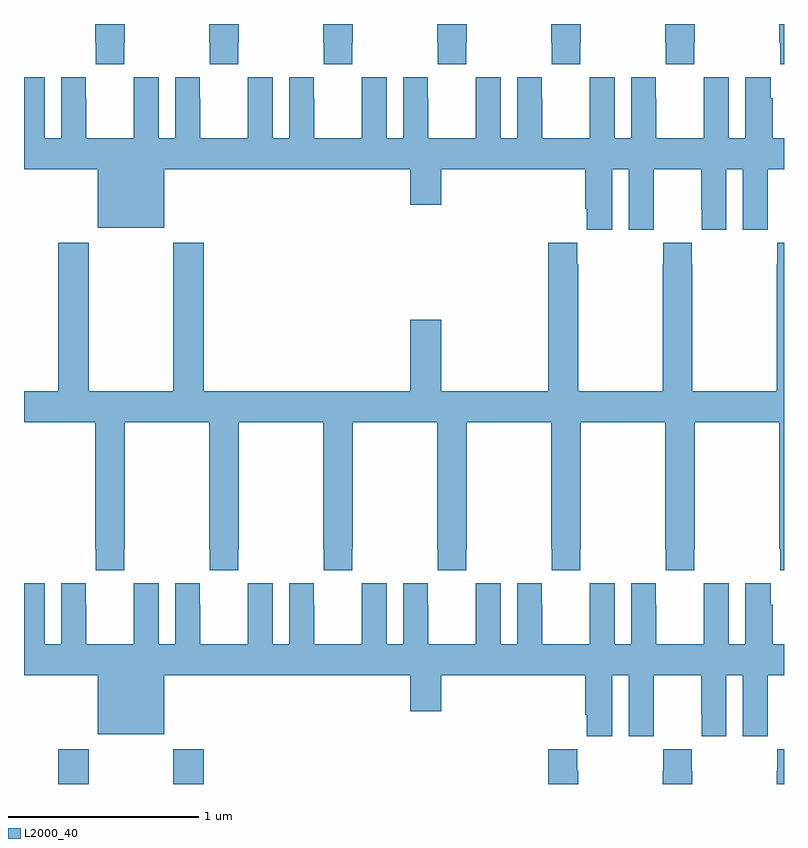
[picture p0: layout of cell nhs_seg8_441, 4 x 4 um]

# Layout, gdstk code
import gdstk
lib = gdstk.Library(unit=1e-6, precision=1e-09)
def R(c, l, rs):  # rectangles x0, y0, x1, y1
    for r in rs: c.add(gdstk.rectangle(r[:2], r[2:], *l))
def P(c, l, *ps):  # polygons
    for p in ps: c.add(gdstk.Polygon(p, *l))
L2000_40 = (2000, 40)

nhs_seg8_441 = lib.new_cell('nhs_seg8_441')
R(nhs_seg8_441, L2000_40, [(139.181,1143.9,139.341,1144.084), (139.786,1143.9,139.946,1144.084)])
P(nhs_seg8_441, L2000_40, [(139.527,1147.801),(139.53,1147.801),(139.53,1147.9),(139.375,1147.9),(139.375,1147.801),(139.377,1147.801),(139.377,1147.689),(139.527,1147.689)],
  [(140.127,1147.801),(140.13,1147.801),(140.13,1147.9),(139.975,1147.9),(139.975,1147.801),(139.977,1147.801),(139.977,1147.689),(140.127,1147.689)],
  [(140.727,1147.801),(140.73,1147.801),(140.73,1147.9),(140.575,1147.9),(140.575,1147.801),(140.577,1147.801),(140.577,1147.689),(140.727,1147.689)],
  [(141.327,1147.801),(141.33,1147.801),(141.33,1147.9),(141.175,1147.9),(141.175,1147.801),(141.177,1147.801),(141.177,1147.689),(141.327,1147.689)],
  [(141.927,1147.801),(141.93,1147.801),(141.93,1147.9),(141.775,1147.9),(141.775,1147.801),(141.777,1147.801),(141.777,1147.689),(141.927,1147.689)],
  [(142.527,1147.801),(142.53,1147.801),(142.53,1147.9),(142.375,1147.9),(142.375,1147.801),(142.377,1147.801),(142.377,1147.689),(142.527,1147.689)],
  [(143,1147.9),(142.975,1147.9),(142.975,1147.801),(142.981,1147.801),(142.981,1147.689),(143,1147.689)],
  [(139.738,1147.136),(141.032,1147.136),(141.032,1146.948),(141.196,1146.948),(141.196,1147.136),(141.953,1147.136),(141.953,1146.928),(141.962,1146.928),(141.962,1146.816),(142.096,1146.816),(142.096,1147.136),(142.184,1147.136),(142.184,1146.816),(142.314,1146.816),(142.314,1146.928),(142.315,1146.928),(142.315,1147.136),(142.565,1147.136),(142.565,1146.928),(142.566,1146.928),(142.566,1146.816),(142.696,1146.816),(142.696,1147.136),(142.784,1147.136),(142.784,1146.816),(142.914,1146.816),(142.914,1146.928),(142.915,1146.928),(142.915,1147.136),(143,1147.136),(143,1147.3),(142.94,1147.3),(142.94,1147.508),(142.93,1147.508),(142.93,1147.621),(142.796,1147.621),(142.796,1147.3),(142.708,1147.3),(142.708,1147.621),(142.578,1147.621),(142.578,1147.508),(142.577,1147.508),(142.577,1147.3),(142.327,1147.3),(142.327,1147.508),(142.326,1147.508),(142.326,1147.621),(142.196,1147.621),(142.196,1147.3),(142.108,1147.3),(142.108,1147.621),(141.978,1147.621),(141.978,1147.508),(141.977,1147.508),(141.977,1147.3),(141.727,1147.3),(141.727,1147.508),(141.726,1147.508),(141.726,1147.621),(141.596,1147.621),(141.596,1147.3),(141.508,1147.3),(141.508,1147.621),(141.378,1147.621),(141.378,1147.508),(141.377,1147.508),(141.377,1147.3),(141.127,1147.3),(141.127,1147.508),(141.126,1147.508),(141.126,1147.621),(140.996,1147.621),(140.996,1147.3),(140.908,1147.3),(140.908,1147.621),(140.778,1147.621),(140.778,1147.508),(140.777,1147.508),(140.777,1147.3),(140.527,1147.3),(140.527,1147.508),(140.526,1147.508),(140.526,1147.621),(140.396,1147.621),(140.396,1147.3),(140.308,1147.3),(140.308,1147.621),(140.178,1147.621),(140.178,1147.508),(140.177,1147.508),(140.177,1147.3),(139.927,1147.3),(139.927,1147.508),(139.926,1147.508),(139.926,1147.621),(139.796,1147.621),(139.796,1147.3),(139.708,1147.3),(139.708,1147.621),(139.578,1147.621),(139.578,1147.508),(139.577,1147.508),(139.577,1147.3),(139.327,1147.3),(139.327,1147.508),(139.326,1147.508),(139.326,1147.621),(139.196,1147.621),(139.196,1147.3),(139.108,1147.3),(139.108,1147.621),(139,1147.621),(139,1147.136),(139.388,1147.136),(139.388,1146.827),(139.738,1146.827)],
  [(139.341,1146.748),(139.181,1146.748),(139.181,1145.968),(139,1145.968),(139,1145.804),(139.375,1145.804),(139.375,1145.137),(139.377,1145.137),(139.377,1145.025),(139.527,1145.025),(139.527,1145.137),(139.53,1145.137),(139.53,1145.804),(139.975,1145.804),(139.975,1145.137),(139.977,1145.137),(139.977,1145.025),(140.127,1145.025),(140.127,1145.137),(140.13,1145.137),(140.13,1145.804),(140.575,1145.804),(140.575,1145.137),(140.577,1145.137),(140.577,1145.025),(140.727,1145.025),(140.727,1145.137),(140.73,1145.137),(140.73,1145.804),(141.175,1145.804),(141.175,1145.137),(141.177,1145.137),(141.177,1145.025),(141.327,1145.025),(141.327,1145.137),(141.33,1145.137),(141.33,1145.804),(141.775,1145.804),(141.775,1145.137),(141.777,1145.137),(141.777,1145.025),(141.927,1145.025),(141.927,1145.137),(141.93,1145.137),(141.93,1145.804),(142.375,1145.804),(142.375,1145.137),(142.377,1145.137),(142.377,1145.025),(142.527,1145.025),(142.527,1145.137),(142.53,1145.137),(142.53,1145.804),(142.975,1145.804),(142.975,1145.137),(142.981,1145.137),(142.981,1145.025),(143,1145.025),(143,1146.748),(142.965,1146.748),(142.965,1146.635),(142.963,1146.635),(142.963,1145.968),(142.518,1145.968),(142.518,1146.635),(142.515,1146.635),(142.515,1146.748),(142.365,1146.748),(142.365,1146.635),(142.363,1146.635),(142.363,1145.968),(141.918,1145.968),(141.918,1146.635),(141.911,1146.635),(141.911,1146.748),(141.758,1146.748),(141.758,1145.968),(141.196,1145.968),(141.196,1146.343),(141.032,1146.343),(141.032,1145.968),(139.946,1145.968),(139.946,1146.748),(139.786,1146.748),(139.786,1145.968),(139.341,1145.968)],
  [(141.032,1144.284),(141.196,1144.284),(141.196,1144.472),(141.953,1144.472),(141.953,1144.264),(141.962,1144.264),(141.962,1144.152),(142.096,1144.152),(142.096,1144.472),(142.184,1144.472),(142.184,1144.152),(142.314,1144.152),(142.314,1144.264),(142.315,1144.264),(142.315,1144.472),(142.565,1144.472),(142.565,1144.264),(142.566,1144.264),(142.566,1144.152),(142.696,1144.152),(142.696,1144.472),(142.784,1144.472),(142.784,1144.152),(142.914,1144.152),(142.914,1144.264),(142.915,1144.264),(142.915,1144.472),(143,1144.472),(143,1144.636),(142.94,1144.636),(142.94,1144.844),(142.93,1144.844),(142.93,1144.957),(142.796,1144.957),(142.796,1144.636),(142.708,1144.636),(142.708,1144.957),(142.578,1144.957),(142.578,1144.844),(142.577,1144.844),(142.577,1144.636),(142.327,1144.636),(142.327,1144.844),(142.326,1144.844),(142.326,1144.957),(142.196,1144.957),(142.196,1144.636),(142.108,1144.636),(142.108,1144.957),(141.978,1144.957),(141.978,1144.844),(141.977,1144.844),(141.977,1144.636),(141.727,1144.636),(141.727,1144.844),(141.726,1144.844),(141.726,1144.957),(141.596,1144.957),(141.596,1144.636),(141.508,1144.636),(141.508,1144.957),(141.378,1144.957),(141.378,1144.844),(141.377,1144.844),(141.377,1144.636),(141.127,1144.636),(141.127,1144.844),(141.126,1144.844),(141.126,1144.957),(140.996,1144.957),(140.996,1144.636),(140.908,1144.636),(140.908,1144.957),(140.778,1144.957),(140.778,1144.844),(140.777,1144.844),(140.777,1144.636),(140.527,1144.636),(140.527,1144.844),(140.526,1144.844),(140.526,1144.957),(140.396,1144.957),(140.396,1144.636),(140.308,1144.636),(140.308,1144.957),(140.178,1144.957),(140.178,1144.844),(140.177,1144.844),(140.177,1144.636),(139.927,1144.636),(139.927,1144.844),(139.926,1144.844),(139.926,1144.957),(139.796,1144.957),(139.796,1144.636),(139.708,1144.636),(139.708,1144.957),(139.578,1144.957),(139.578,1144.844),(139.577,1144.844),(139.577,1144.636),(139.327,1144.636),(139.327,1144.844),(139.326,1144.844),(139.326,1144.957),(139.196,1144.957),(139.196,1144.636),(139.108,1144.636),(139.108,1144.957),(139,1144.957),(139,1144.472),(139.388,1144.472),(139.388,1144.163),(139.738,1144.163),(139.738,1144.472),(141.032,1144.472)],
  [(142.518,1143.971),(142.515,1143.971),(142.515,1144.084),(142.365,1144.084),(142.365,1143.971),(142.363,1143.971),(142.363,1143.9),(142.518,1143.9)],
  [(143,1144.084),(142.965,1144.084),(142.965,1143.971),(142.963,1143.971),(142.963,1143.9),(143,1143.9)],
  [(141.918,1143.971),(141.911,1143.971),(141.911,1144.084),(141.758,1144.084),(141.758,1143.9),(141.918,1143.9)])

lib.write_gds('nhs_seg8_441.gds')
